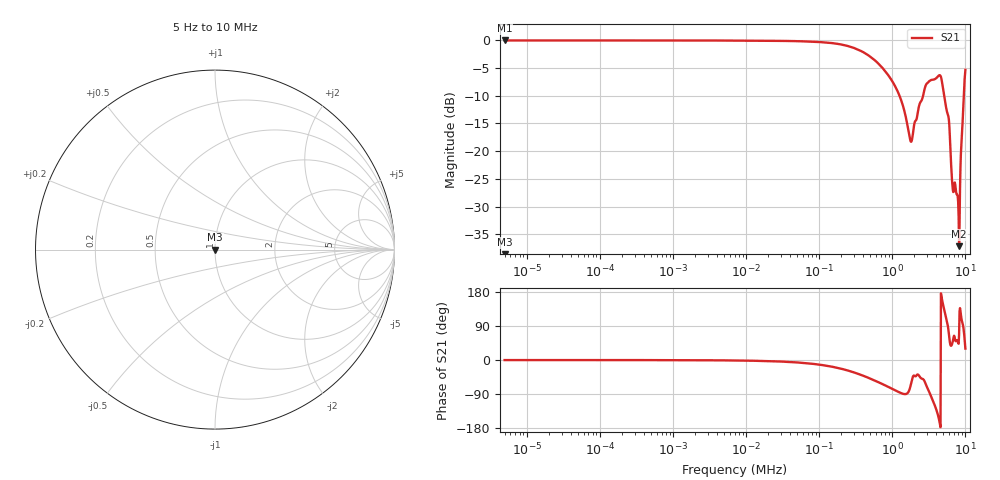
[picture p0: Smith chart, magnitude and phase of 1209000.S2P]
!Agilent Technologies,E5061B,MY49204007,A.02.12
!Date: Fri Sep 12 10:19:53 2025
!Data & Calibration Information:
!Freq	S11:SOLT2(OFF)	S21:SOLT2(OFF)	S12:SOLT2(OFF)	S22:SOLT2(OFF)
# Hz S dB R 50
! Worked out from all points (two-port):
!   1041 points, 5 Hz to 10 MHz, reference 50 ohm
!   highest |S21| = -0.04 dB at 5 Hz (marker M1); lowest = -37.1 dB at 8.198 MHz (marker M2)
!   |S21| within 3 dB of the highest: start of sweep to 510.1 kHz
!   lowest |S11| = - dB at 5 Hz (marker M3), VSWR 1.00, Z = 50 + j0 ohm
!   |S11| at or under -10 dB: start of sweep to end of sweep
!   S12 and S22 are empty: the file has one direction only
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5  -200.00 0.0  -0.04 -0.2  -200.00 0.0  -200.00 0.0
56.522  -200.00 0.0  -0.04 -0.2  -200.00 0.0  -200.00 0.0
632.897  -200.00 0.0  -0.04 -0.3  -200.00 0.0  -200.00 0.0
7154.49  -200.00 0.0  -0.06 -1.3  -200.00 0.0  -200.00 0.0
80111.67  -200.00 0.0  -0.25 -9.9  -200.00 0.0  -200.00 0.0
254626.5  -200.00 0.0  -1.09 -28.5  -200.00 0.0  -200.00 0.0
503090.7  -200.00 0.0  -2.98 -49.3  -200.00 0.0  -200.00 0.0
893075.1  -200.00 0.0  -6.40 -71.5  -200.00 0.0  -200.00 0.0
1317333  -200.00 0.0  -10.72 -87.3  -200.00 0.0  -200.00 0.0
1791890  -200.00 0.0  -18.26 -65.5  -200.00 0.0  -200.00 0.0
2816350  -200.00 0.0  -8.42 -59.6  -200.00 0.0  -200.00 0.0
3682284  -200.00 0.0  -7.08 -112.5  -200.00 0.0  -200.00 0.0
4125599  -200.00 0.0  -6.64 -138.9  -200.00 0.0  -200.00 0.0
4505004  -200.00 0.0  -6.32 -170.9  -200.00 0.0  -200.00 0.0
5137346  -200.00 0.0  -10.02 133.0  -200.00 0.0  -200.00 0.0
6035018  -200.00 0.0  -15.44 57.3  -200.00 0.0  -200.00 0.0
6819431  -200.00 0.0  -27.35 55.0  -200.00 0.0  -200.00 0.0
7717529  -200.00 0.0  -27.81 51.7  -200.00 0.0  -200.00 0.0
8198050  -200.00 0.0  -37.11 66.2  -200.00 0.0  -200.00 0.0
8678570  -200.00 0.0  -20.46 119.7  -200.00 0.0  -200.00 0.0
9038960  -200.00 0.0  -16.19 100.4  -200.00 0.0  -200.00 0.0
1e7  -200.00 0.0  -5.34 30.1  -200.00 0.0  -200.00 0.0
